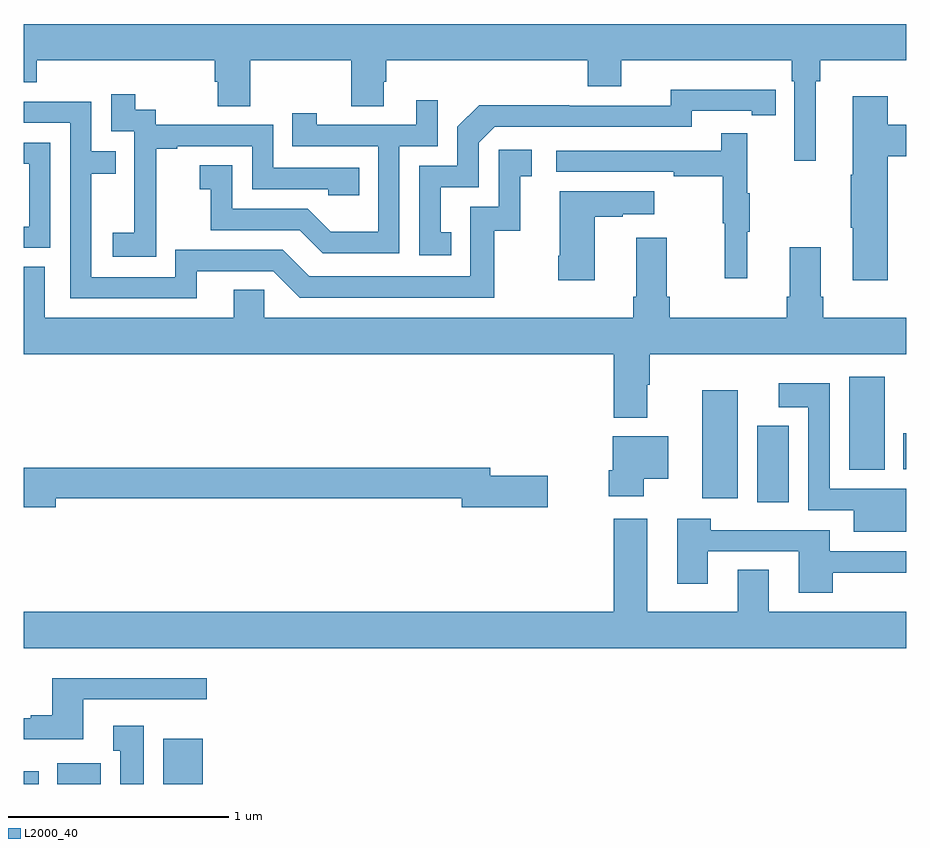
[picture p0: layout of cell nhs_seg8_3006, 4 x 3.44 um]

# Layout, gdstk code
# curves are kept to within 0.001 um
import gdstk
lib = gdstk.Library(unit=1e-6, precision=1e-09)
def R(c, l, rs):  # rectangles x0, y0, x1, y1
    for r in rs: c.add(gdstk.rectangle(r[:2], r[2:], *l))
def P(c, l, *ps):  # polygons
    for p in ps: c.add(gdstk.Polygon(p, *l))
L2000_40 = (2000, 40)

nhs_seg8_3006 = lib.new_cell('nhs_seg8_3006')
R(nhs_seg8_3006, L2000_40, [(299,1099.9,299.068,1099.957), (299.153,1099.9,299.349,1099.993), (299.633,1099.9,299.812,1100.104), (302.324,1101.177,302.467,1101.523), (302.075,1101.195,302.236,1101.685), (302.741,1101.323,302.902,1101.745), (302.987,1101.326,303,1101.49)])
P(nhs_seg8_3006, L2000_40, [(302.59,1103.084),(302.609,1103.084),(302.609,1103.18),(303,1103.18),(303,1103.344),(299,1103.344),(299,1103.081),(299.06,1103.081),(299.06,1103.18),(299.867,1103.18),(299.867,1103.082),(299.879,1103.082),(299.879,1102.972),(300.027,1102.972),(300.027,1103.18),(300.484,1103.18),(300.484,1102.972),(300.631,1102.972),(300.631,1103.082),(300.644,1103.082),(300.644,1103.18),(301.556,1103.18),(301.556,1103.063),(301.708,1103.063),(301.708,1103.18),(302.48,1103.18),(302.48,1103.084),(302.493,1103.084),(302.493,1102.725),(302.59,1102.725)],
  [(300.938,1102.401),(300.889,1102.401),(300.889,1102.605),(301.062,1102.605),(301.062,1102.806),(301.134,1102.878),(302.028,1102.878),(302.028,1102.95),(302.3,1102.95),(302.3,1102.93),(302.408,1102.93),(302.408,1103.046),(301.932,1103.047),(301.932,1102.974),(301.472,1102.974),(301.472,1102.976),(301.064,1102.976),(300.966,1102.878),(300.966,1102.701),(300.792,1102.701),(300.792,1102.296),(300.938,1102.296)],
  [(299.601,1102.495),(299.6,1102.495),(299.6,1102.779),(299.695,1102.779),(299.695,1102.791),(300.036,1102.791),(300.036,1102.596),(300.381,1102.596),(300.381,1102.569),(300.521,1102.569),(300.521,1102.692),(300.132,1102.692),(300.132,1102.887),(299.598,1102.887),(299.598,1102.956),(299.506,1102.956),(299.506,1103.026),(299.397,1103.026),(299.397,1102.857),(299.502,1102.857),(299.502,1102.628),(299.501,1102.628),(299.501,1102.399),(299.403,1102.399),(299.403,1102.289),(299.601,1102.289)],
  [(302.915,1102.745),(303,1102.745),(303,1102.887),(302.915,1102.887),(302.915,1103.017),(302.756,1103.017),(302.756,1102.661),(302.749,1102.661),(302.749,1102.42),(302.756,1102.42),(302.756,1102.182),(302.915,1102.182)],
  [(300.702,1102.791),(300.876,1102.791),(300.876,1102.999),(300.779,1102.999),(300.779,1102.887),(300.328,1102.887),(300.328,1102.939),(300.217,1102.939),(300.217,1102.791),(300.606,1102.791),(300.606,1102.402),(300.392,1102.402),(300.288,1102.506),(299.946,1102.506),(299.946,1102.705),(299.799,1102.705),(299.799,1102.595),(299.848,1102.595),(299.848,1102.41),(300.251,1102.41),(300.356,1102.305),(300.702,1102.305)],
  [(299.785,1102.224),(300.132,1102.224),(300.252,1102.104),(301.132,1102.104),(301.132,1102.407),(301.25,1102.407),(301.25,1102.653),(301.303,1102.653),(301.303,1102.774),(301.152,1102.774),(301.152,1102.515),(301.023,1102.515),(301.023,1102.2),(300.294,1102.2),(300.174,1102.32),(299.688,1102.32),(299.688,1102.197),(299.307,1102.197),(299.307,1102.666),(299.417,1102.666),(299.417,1102.767),(299.307,1102.767),(299.307,1102.992),(299,1102.992),(299,1102.896),(299.211,1102.896),(299.211,1102.101),(299.785,1102.101)],
  [(302.279,1102.403),(302.29,1102.403),(302.29,1102.577),(302.279,1102.577),(302.279,1102.849),(302.161,1102.849),(302.161,1102.77),(301.413,1102.77),(301.413,1102.674),(301.945,1102.674),(301.945,1102.654),(302.169,1102.654),(302.169,1102.44),(302.176,1102.44),(302.176,1102.191),(302.279,1102.191)],
  [(299.121,1102.806),(299,1102.806),(299,1102.71),(299.025,1102.71),(299.025,1102.425),(299,1102.425),(299,1102.329),(299.121,1102.329)],
  [(301.588,1102.471),(301.715,1102.471),(301.715,1102.481),(301.858,1102.481),(301.858,1102.585),(301.43,1102.585),(301.43,1102.294),(301.423,1102.294),(301.423,1102.182),(301.588,1102.182)],
  [(301.825,1101.71),(301.838,1101.71),(301.838,1101.848),(303,1101.848),(303,1102.012),(302.624,1102.012),(302.624,1102.108),(302.611,1102.108),(302.611,1102.333),(302.471,1102.333),(302.471,1102.108),(302.459,1102.108),(302.459,1102.012),(301.928,1102.012),(301.928,1102.108),(301.915,1102.108),(301.915,1102.375),(301.775,1102.375),(301.775,1102.108),(301.763,1102.108),(301.763,1102.012),(300.09,1102.012),(300.09,1102.139),(299.951,1102.139),(299.951,1102.012),(299.095,1102.012),(299.095,1102.244),(299,1102.244),(299,1101.848),(301.673,1101.848),(301.673,1101.56),(301.825,1101.56)],
  [(303,1101.238),(302.898,1101.238),(302.898,1101.237),(302.652,1101.237),(302.652,1101.715),(302.421,1101.715),(302.421,1101.608),(302.556,1101.608),(302.556,1101.141),(302.762,1101.141),(302.762,1101.044),(303,1101.044)],
  [(301.81,1101.284),(301.921,1101.284),(301.921,1101.475),(301.67,1101.475),(301.67,1101.321),(301.652,1101.321),(301.652,1101.203),(301.81,1101.203)],
  [(299.146,1101.196),(300.986,1101.196),(300.986,1101.154),(301.375,1101.154),(301.375,1101.296),(301.114,1101.296),(301.114,1101.332),(299,1101.332),(299,1101.154),(299.146,1101.154)],
  [(303,1100.68),(302.377,1100.68),(302.377,1100.87),(302.237,1100.87),(302.237,1100.68),(301.825,1100.68),(301.825,1101.103),(301.673,1101.103),(301.673,1100.68),(299,1100.68),(299,1100.516),(303,1100.516)],
  [(302.666,1100.858),(303,1100.858),(303,1100.955),(302.653,1100.955),(302.653,1101.051),(302.114,1101.051),(302.114,1101.103),(301.961,1101.103),(301.961,1100.808),(302.101,1100.808),(302.101,1100.955),(302.513,1100.955),(302.513,1100.766),(302.666,1100.766)],
  [(299.269,1100.283),(299.83,1100.283),(299.83,1100.38),(299.129,1100.38),(299.129,1100.212),(299.033,1100.212),(299.033,1100.199),(299,1100.199),(299,1100.102),(299.269,1100.102)],
  [(299.545,1100.164),(299.405,1100.164),(299.405,1100.051),(299.438,1100.051),(299.438,1099.9),(299.545,1099.9)])

lib.write_gds('nhs_seg8_3006.gds')
